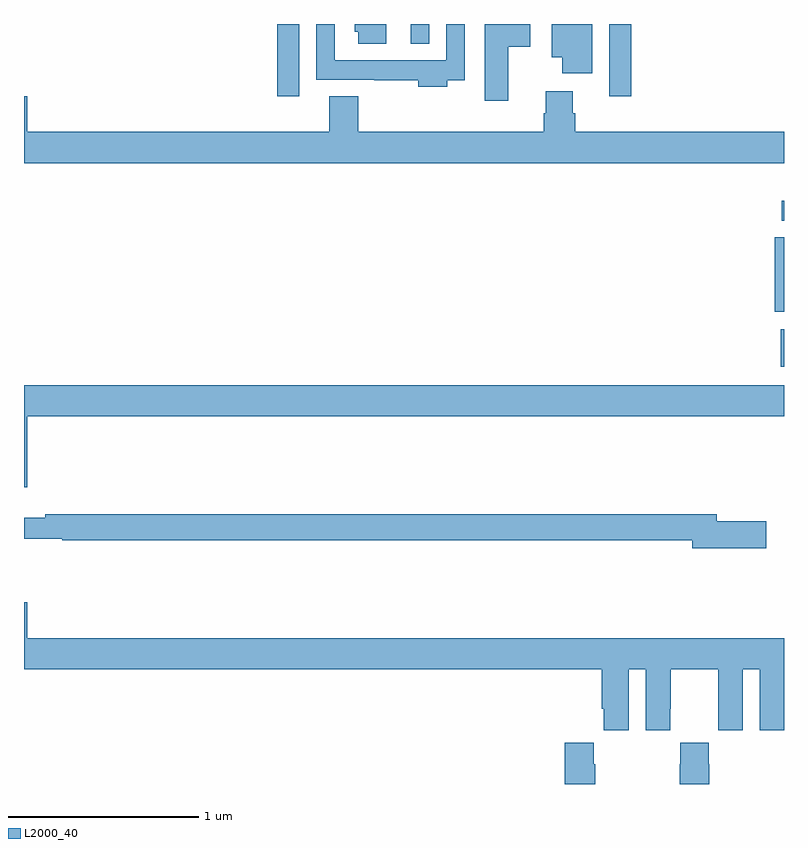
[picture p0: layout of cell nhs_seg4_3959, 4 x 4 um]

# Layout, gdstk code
import gdstk
lib = gdstk.Library(unit=1e-6, precision=1e-09)
def R(c, l, rs):  # rectangles x0, y0, x1, y1
    for r in rs: c.add(gdstk.rectangle(r[:2], r[2:], *l))
def P(c, l, *ps):  # polygons
    for p in ps: c.add(gdstk.Polygon(p, *l))
L2000_40 = (2000, 40)

nhs_seg4_3959 = lib.new_cell('nhs_seg4_3959')
R(nhs_seg4_3959, L2000_40, [(324.983,781.095,325,781.294), (324.95,781.385,325,781.777), (324.987,781.865,325,781.969), (322.333,782.52,322.449,782.9), (324.081,782.52,324.197,782.9), (323.036,782.795,323.133,782.9)])
P(nhs_seg4_3959, L2000_40, [(323.227,782.604),(323.319,782.604),(323.319,782.9),(323.223,782.9),(323.223,782.71),(322.635,782.71),(322.635,782.9),(322.539,782.9),(322.539,782.606),(322.843,782.606),(322.843,782.604),(323.075,782.604),(323.075,782.57),(323.227,782.57)],
  [(323.992,782.9),(323.777,782.9),(323.777,782.726),(323.834,782.726),(323.834,782.64),(323.992,782.64)],
  [(323.548,782.779),(323.665,782.779),(323.665,782.9),(323.426,782.9),(323.426,782.496),(323.548,782.496)],
  [(322.906,782.9),(322.742,782.9),(322.742,782.859),(322.76,782.859),(322.76,782.796),(322.906,782.796)],
  [(325,782.332),(323.9,782.332),(323.9,782.43),(323.887,782.43),(323.887,782.545),(323.747,782.545),(323.747,782.43),(323.735,782.43),(323.735,782.332),(322.76,782.332),(322.76,782.521),(322.607,782.521),(322.607,782.332),(321.016,782.332),(321.016,782.521),(321,782.521),(321,782.168),(325,782.168)],
  [(321.016,780.836),(325,780.836),(325,781),(321,781),(321,780.462),(321.016,780.462)],
  [(324.907,780.284),(324.646,780.284),(324.646,780.32),(321.112,780.32),(321.112,780.301),(321,780.301),(321,780.192),(321.2,780.192),(321.2,780.184),(324.518,780.184),(324.518,780.142),(324.907,780.142)],
  [(324.184,779.504),(324.272,779.504),(324.272,779.184),(324.402,779.184),(324.402,779.296),(324.403,779.296),(324.403,779.504),(324.653,779.504),(324.653,779.296),(324.654,779.296),(324.654,779.184),(324.784,779.184),(324.784,779.504),(324.872,779.504),(324.872,779.184),(325,779.184),(325,779.668),(321.016,779.668),(321.016,779.857),(321,779.857),(321,779.504),(324.041,779.504),(324.041,779.296),(324.05,779.296),(324.05,779.184),(324.184,779.184)],
  [(324.606,779.003),(324.603,779.003),(324.603,779.116),(324.453,779.116),(324.453,779.003),(324.451,779.003),(324.451,778.9),(324.606,778.9)],
  [(324.006,779.003),(323.999,779.003),(323.999,779.116),(323.846,779.116),(323.846,778.9),(324.006,778.9)])

lib.write_gds('nhs_seg4_3959.gds')
